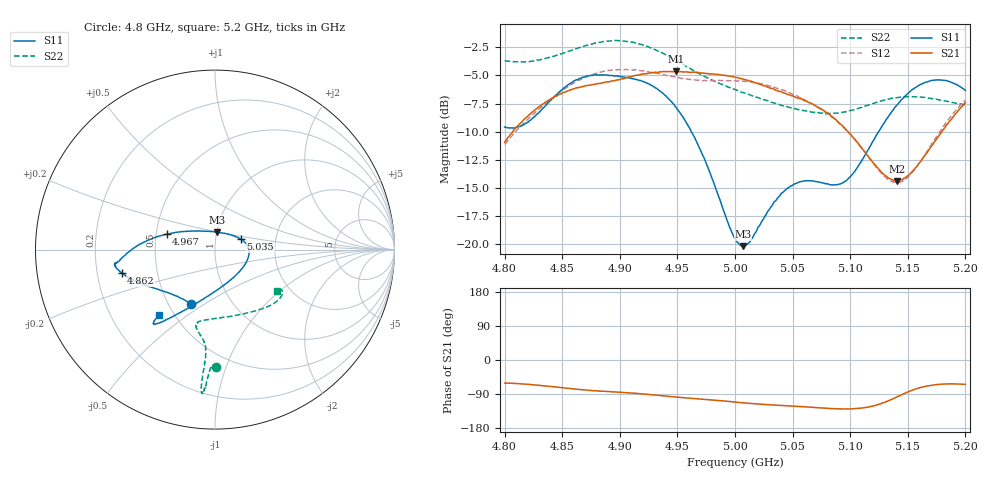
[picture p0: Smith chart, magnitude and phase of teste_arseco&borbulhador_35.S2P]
! Network Analyzer HP8722D
! Hewlett-Packard
! Data name: Linha & Wilkinson
! Saver's name: Rodrigo Anjos
! Comments: Teste da utilização de aquisição
! continua pelo VNA HP8722D
! Time and date: 15/4/2025 15:55
!  Frequency  S11  S21  S12  S22
# HZ  S  MA R 50
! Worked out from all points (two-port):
!   401 points, 4.8 GHz to 5.2 GHz, reference 50 ohm
!   highest |S21| = -4.64 dB at 4.949 GHz (marker M1); lowest = -14.4 dB at 5.141 GHz (marker M2)
!   |S21| within 3 dB of the highest: 4.832 GHz to 5.069 GHz (237.1 MHz wide, 4.79 % of centre); 5.198265 GHz to end of sweep
!   lowest |S11| = -20.2 dB at 5.007 GHz (marker M3), VSWR 1.22, Z = 50.4 + j9.84 ohm
!   |S11| at or under -10 dB: 4.962 GHz to 5.125 GHz (162.7 MHz wide, 3.23 % of centre)
!   |S22| runs from -8.4 to -1.9 dB; largest |S21 - S12| = 0.88
!   S11 on the Smith chart (normalised r, x): 4.8 GHz: 0.65, -0.44; 4.862 GHz: 0.31, -0.11; 4.967 GHz: 0.57, +0.11; 5.035 GHz: 1.33, +0.16; 5.2 GHz: 0.41, -0.39
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4.8e9  0.3311 -114.0  0.2838 -60.9  0.2771 -175.1  0.6548 -89.5
4.819e9  0.3457 -133.9  0.3664 -63.8  0.3541 -173.5  0.6487 -91.2
4.862e9  0.537 -165.9  0.4954 -76.7  0.5273 -176.6  0.7397 -93.7
4.867e9  0.5497 -167.9  0.5011 -78.3  0.5423 -177.6  0.7532 -93.7
4.898e9  0.5592 -172.3  0.5377 -84.7  0.5948 175.9  0.8037 -95.1
4.934e9  0.4838 -178.2  0.5821 -93.4  0.5739 171.8  0.7189 -95.6
4.949e9  0.4038 174.6  0.5862 -97.5  0.5527 172.0  0.656 -95.3
4.967e9  0.2827 162.2  0.5797 -102.2  0.5354 173.9  0.5801 -95.1
5e9  0.1057 106.2  0.5522 -111.0  0.5333 176.2  0.4866 -99.3
5.007e9  0.09761 82.4  0.5414 -112.7  0.5296 176.2  0.4712 -101.0
5.013e9  0.1022 63.1  0.5308 -114.5  0.5263 176.1  0.4608 -102.1
5.035e9  0.1551 22.0  0.4835 -119.2  0.496 174.9  0.4229 -103.7
5.05e9  0.1823 6.3  0.4565 -121.6  0.4631 174.2  0.4014 -100.2
5.067e9  0.1907 -12.0  0.4196 -124.8  0.4208 173.9  0.3858 -91.7
5.085e9  0.1831 -40.5  0.3662 -128.6  0.3637 173.7  0.3813 -78.5
5.097e9  0.1918 -65.6  0.3199 -129.2  0.3187 174.5  0.3885 -68.4
5.134e9  0.3743 -116.4  0.1954 -106.6  0.1917 -159.4  0.4423 -43.3
5.141e9  0.417 -120.4  0.1905 -96.7  0.1876 -148.3  0.4483 -40.2
5.152e9  0.4768 -124.8  0.2051 -81.9  0.2024 -131.1  0.4519 -36.3
5.17e9  0.5328 -128.8  0.2697 -66.9  0.2743 -113.1  0.4446 -32.1
5.184e9  0.5318 -130.1  0.34 -63.4  0.3502 -107.2  0.4317 -31.2
5.2e9  0.4818 -130.6  0.4249 -64.2  0.4362 -106.2  0.4152 -33.5
